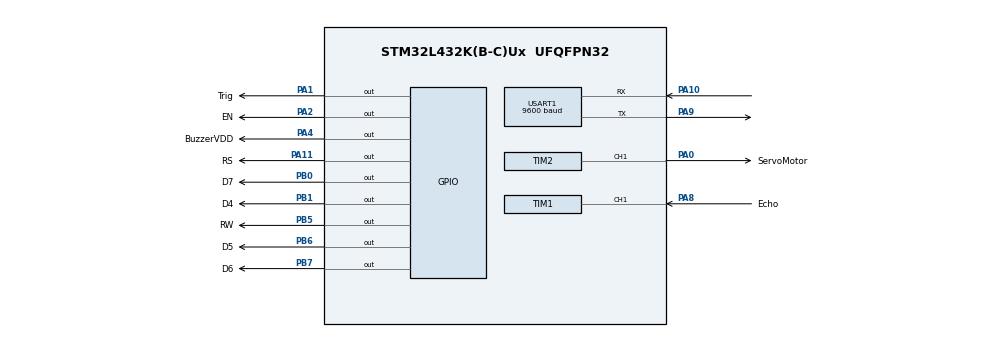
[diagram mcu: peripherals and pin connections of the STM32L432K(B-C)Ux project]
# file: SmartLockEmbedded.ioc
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Mcu.Family=STM32L4
Mcu.Name=STM32L432K(B-C)Ux
Mcu.Package=UFQFPN32
NVIC.PriorityGroup=NVIC_PRIORITYGROUP_4
NVIC.TIM1_CC_IRQn=true\:0\:0\:false\:false\:true\:true\:true
PA0.GPIO_Label=ServoMotor
PA0.Signal=S_TIM2_CH1
PA1.GPIO_Label=Trig
PA1.Signal=GPIO_Output
PA10.Mode=Asynchronous
PA10.Signal=USART1_RX
PA11.GPIO_Label=RS
PA11.Signal=GPIO_Output
PA2.GPIO_Label=EN
PA2.Signal=GPIO_Output
PA4.GPIO_Label=BuzzerVDD
PA4.Signal=GPIO_Output
PA8.GPIO_Label=Echo
PA8.Signal=S_TIM1_CH1
PA9.Mode=Asynchronous
PA9.Signal=USART1_TX
PB0.GPIO_Label=D7
PB0.Signal=GPIO_Output
PB1.GPIO_Label=D4
PB1.Signal=GPIO_Output
PB5.GPIO_Label=RW
PB5.Signal=GPIO_Output
PB6.GPIO_Label=D5
PB6.Signal=GPIO_Output
PB7.GPIO_Label=D6
PB7.Signal=GPIO_Output
ProjectManager.HeapSize=0x200
ProjectManager.StackSize=0x400
ProjectManager.TargetToolchain=MDK-ARM V5
RCC.HSE_VALUE=8000000
RCC.HSI48_VALUE=48000000
RCC.HSI_VALUE=16000000
RCC.LSE_VALUE=32768
RCC.MSI_VALUE=4000000
RCC.VCOOutputFreq_Value=32000000
SH.S_TIM1_CH1.0=TIM1_CH1,Input_Capture1_from_TI1
SH.S_TIM2_CH1.0=TIM2_CH1,PWM Generation1 CH1
TIM1.Channel-Input_Capture1_from_TI1=TIM_CHANNEL_1
TIM1.Period=65535-1
TIM1.Prescaler=4-1
TIM2.Channel-PWM\ Generation1\ CH1=TIM_CHANNEL_1
TIM2.Period=100-1
TIM2.Prescaler=800-1
USART1.BaudRate=9600
USART1.VirtualMode-Asynchronous=VM_ASYNC
VP_TIM1_VS_ClockSourceINT.Mode=Internal
VP_TIM2_VS_ClockSourceINT.Mode=Internal
board=custom

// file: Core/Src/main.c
/* USER CODE BEGIN Header */
/**
  ******************************************************************************
  * @file           : main.c
  * @brief          : Main program body
  ******************************************************************************
  * @attention
  *
  * <h2><center>&copy; Copyright (c) 2021 STMicroelectronics.
  * All rights reserved.</center></h2>
  *
  * This software component is licensed by ST under BSD 3-Clause license,
  * the "License"; You may not use this file except in compliance with the
  * License. You may obtain a copy of the License at:
  *                        opensource.org/licenses/BSD-3-Clause
  *
  ******************************************************************************
  */
/* USER CODE END Header */
#include "main.h"

/* USER CODE BEGIN Includes */
#include "lcd_1602.h"
#include "stdio.h"
#include "string.h"
/* USER CODE END Includes */

/* USER CODE BEGIN PM */
#define Buzzer_GPIO_Port GPIOA
#define Buzzr_Pin GPIO_PIN_4
/* USER CODE END PM */

TIM_HandleTypeDef htim1;
TIM_HandleTypeDef htim2;

UART_HandleTypeDef huart1;

/* USER CODE BEGIN PV */
	uint8_t pin [4] = {'1','1','1','1'};
	uint8_t user_entry [4];
	uint8_t inputORnew;
	uint8_t count_wrong_pins=0;
	uint8_t doorIsclosed = 1;		// 0 door is opened - 1 door is closed
	extern uint8_t distance;

/* USER CODE END PV */

void SystemClock_Config(void);
static void MX_GPIO_Init(void);
static void MX_TIM1_Init(void);
static void MX_USART1_UART_Init(void);
static void MX_TIM2_Init(void);
/* USER CODE BEGIN PFP */
uint8_t read_mobile (void);
uint8_t compare_entry (uint8_t * pin,uint8_t * user_entry);
void start_buzzer(void);
void adjust_lock(uint8_t openORclose);
void delayMS (uint32_t value);
void distanceCalculation(void);
/* USER CODE END PFP */

int main(void)
{

  /* MCU Configuration--------------------------------------------------------*/

  /* Reset of all peripherals, Initializes the Flash interface and the Systick. */
  HAL_Init();

  /* Configure the system clock */
  SystemClock_Config();

  /* Initialize all configured peripherals */
  MX_GPIO_Init();
  MX_TIM1_Init();
  MX_USART1_UART_Init();
  MX_TIM2_Init();
  /* USER CODE BEGIN 2 */
	lcd_init();
	HAL_TIM_PWM_Start(&htim2,TIM_CHANNEL_1);
	// Start the TIM Base generation
	HAL_TIM_Base_Start(&htim1);
	// Pull Trig output low for a little time
	HAL_GPIO_WritePin(GPIOA, GPIO_PIN_1,GPIO_PIN_RESET);
	HAL_Delay(10);
  /* USER CODE END 2 */

  /* Infinite loop */
  while (1)
  {

    /* USER CODE BEGIN 3 */
		/* Ask User Whether He Wants To Enter Pin or Reset Pin */
		lcd_print_start();
		do{
			inputORnew = read_mobile();
		}while (inputORnew!='1' && inputORnew !='2');
		lcd_clr();

		/*Handling Pin input*/
		if(inputORnew=='1')
		{
			lcd_input_menu();
			for(int i=0; i<4;i=i+1)
			{
				user_entry [i] = read_mobile();
				lcd_gotoxy(i,1);
				lcd_puts("*");
			}

			if(compare_entry(pin,user_entry)=='t')
			{
				lcd_clr();
				lcd_gotoxy(0,0);
				lcd_puts("DOOR IS OPEN");
				adjust_lock(0);
				while(doorIsclosed ==0) distanceCalculation();
				count_wrong_pins=0;
			}
			else
			{
				lcd_clr();
				lcd_gotoxy(0,0);
				lcd_puts("Wrong Pin!");
				count_wrong_pins=count_wrong_pins+1;
				if(count_wrong_pins==3)(start_buzzer());
			}
		}

		/*Handling Pin Reset*/
		else if (inputORnew=='2')
		{
			lcd_gotoxy(0,0);
			lcd_puts("Enter PIN:");

			for(int i=0; i<4;i=i+1)
			{
				user_entry [i] = read_mobile();
				lcd_gotoxy(i,1);
				lcd_puts("*");
			}

			if(compare_entry(pin,user_entry)=='t')
			{
				lcd_clr();
				lcd_gotoxy(0,0);
				lcd_puts("PIN CAN BE");
				lcd_gotoxy(0,1);
				lcd_puts("4-NUMBERS ONLY");
				HAL_Delay(4000);
				lcd_clr();
				lcd_gotoxy(0,0);
				lcd_puts("Enter New Pin:");
				for(int i=0; i<4;i=i+1)
				{
					pin[i] = read_mobile();
					lcd_gotoxy(i,1);
					lcd_puts("*");
				}
			}
			else
			{
				lcd_clr();
				lcd_gotoxy(4,0);
				lcd_puts("Wrong Pin!");
				count_wrong_pins = count_wrong_pins+1;
				if(count_wrong_pins==3)(start_buzzer());
			}
		}
  }
  /* USER CODE END 3 */
}

void SystemClock_Config(void)
{
  RCC_OscInitTypeDef RCC_OscInitStruct = {0};
  RCC_ClkInitTypeDef RCC_ClkInitStruct = {0};
  RCC_PeriphCLKInitTypeDef PeriphClkInit = {0};

  /** Initializes the RCC Oscillators according to the specified parameters
  * in the RCC_OscInitTypeDef structure.
  */
  RCC_OscInitStruct.OscillatorType = RCC_OSCILLATORTYPE_MSI;
  RCC_OscInitStruct.MSIState = RCC_MSI_ON;
  RCC_OscInitStruct.MSICalibrationValue = 0;
  RCC_OscInitStruct.MSIClockRange = RCC_MSIRANGE_6;
  RCC_OscInitStruct.PLL.PLLState = RCC_PLL_NONE;
  if (HAL_RCC_OscConfig(&RCC_OscInitStruct) != HAL_OK)
  {
    Error_Handler();
  }
  /** Initializes the CPU, AHB and APB buses clocks
  */
  RCC_ClkInitStruct.ClockType = RCC_CLOCKTYPE_HCLK|RCC_CLOCKTYPE_SYSCLK
                              |RCC_CLOCKTYPE_PCLK1|RCC_CLOCKTYPE_PCLK2;
  RCC_ClkInitStruct.SYSCLKSource = RCC_SYSCLKSOURCE_MSI;
  RCC_ClkInitStruct.AHBCLKDivider = RCC_SYSCLK_DIV1;
  RCC_ClkInitStruct.APB1CLKDivider = RCC_HCLK_DIV1;
  RCC_ClkInitStruct.APB2CLKDivider = RCC_HCLK_DIV1;

  if (HAL_RCC_ClockConfig(&RCC_ClkInitStruct, FLASH_LATENCY_0) != HAL_OK)
  {
    Error_Handler();
  }
  PeriphClkInit.PeriphClockSelection = RCC_PERIPHCLK_USART1;
  PeriphClkInit.Usart1ClockSelection = RCC_USART1CLKSOURCE_PCLK2;
  if (HAL_RCCEx_PeriphCLKConfig(&PeriphClkInit) != HAL_OK)
  {
    Error_Handler();
  }
  /** Configure the main internal regulator output voltage
  */
  if (HAL_PWREx_ControlVoltageScaling(PWR_REGULATOR_VOLTAGE_SCALE1) != HAL_OK)
  {
    Error_Handler();
  }
}

static void MX_TIM1_Init(void)
{

  TIM_ClockConfigTypeDef sClockSourceConfig = {0};
  TIM_MasterConfigTypeDef sMasterConfig = {0};
  TIM_IC_InitTypeDef sConfigIC = {0};

  htim1.Instance = TIM1;
  htim1.Init.Prescaler = 4-1;
  htim1.Init.CounterMode = TIM_COUNTERMODE_UP;
  htim1.Init.Period = 65535-1;
  htim1.Init.ClockDivision = TIM_CLOCKDIVISION_DIV1;
  htim1.Init.RepetitionCounter = 0;
  htim1.Init.AutoReloadPreload = TIM_AUTORELOAD_PRELOAD_DISABLE;
  if (HAL_TIM_Base_Init(&htim1) != HAL_OK)
  {
    Error_Handler();
  }
  sClockSourceConfig.ClockSource = TIM_CLOCKSOURCE_INTERNAL;
  if (HAL_TIM_ConfigClockSource(&htim1, &sClockSourceConfig) != HAL_OK)
  {
    Error_Handler();
  }
  if (HAL_TIM_IC_Init(&htim1) != HAL_OK)
  {
    Error_Handler();
  }
  sMasterConfig.MasterOutputTrigger = TIM_TRGO_RESET;
  sMasterConfig.MasterOutputTrigger2 = TIM_TRGO2_RESET;
  sMasterConfig.MasterSlaveMode = TIM_MASTERSLAVEMODE_DISABLE;
  if (HAL_TIMEx_MasterConfigSynchronization(&htim1, &sMasterConfig) != HAL_OK)
  {
    Error_Handler();
  }
  sConfigIC.ICPolarity = TIM_INPUTCHANNELPOLARITY_RISING;
  sConfigIC.ICSelection = TIM_ICSELECTION_DIRECTTI;
  sConfigIC.ICPrescaler = TIM_ICPSC_DIV1;
  sConfigIC.ICFilter = 0;
  if (HAL_TIM_IC_ConfigChannel(&htim1, &sConfigIC, TIM_CHANNEL_1) != HAL_OK)
  {
    Error_Handler();
  }

}

static void MX_TIM2_Init(void)
{

  TIM_ClockConfigTypeDef sClockSourceConfig = {0};
  TIM_MasterConfigTypeDef sMasterConfig = {0};
  TIM_OC_InitTypeDef sConfigOC = {0};

  htim2.Instance = TIM2;
  htim2.Init.Prescaler = 800-1;
  htim2.Init.CounterMode = TIM_COUNTERMODE_UP;
  htim2.Init.Period = 100-1;
  htim2.Init.ClockDivision = TIM_CLOCKDIVISION_DIV1;
  htim2.Init.AutoReloadPreload = TIM_AUTORELOAD_PRELOAD_DISABLE;
  if (HAL_TIM_Base_Init(&htim2) != HAL_OK)
  {
    Error_Handler();
  }
  sClockSourceConfig.ClockSource = TIM_CLOCKSOURCE_INTERNAL;
  if (HAL_TIM_ConfigClockSource(&htim2, &sClockSourceConfig) != HAL_OK)
  {
    Error_Handler();
  }
  if (HAL_TIM_PWM_Init(&htim2) != HAL_OK)
  {
    Error_Handler();
  }
  sMasterConfig.MasterOutputTrigger = TIM_TRGO_RESET;
  sMasterConfig.MasterSlaveMode = TIM_MASTERSLAVEMODE_DISABLE;
  if (HAL_TIMEx_MasterConfigSynchronization(&htim2, &sMasterConfig) != HAL_OK)
  {
    Error_Handler();
  }
  sConfigOC.OCMode = TIM_OCMODE_PWM1;
  sConfigOC.Pulse = 0;
  sConfigOC.OCPolarity = TIM_OCPOLARITY_HIGH;
  sConfigOC.OCFastMode = TIM_OCFAST_DISABLE;
  if (HAL_TIM_PWM_ConfigChannel(&htim2, &sConfigOC, TIM_CHANNEL_1) != HAL_OK)
  {
    Error_Handler();
  }
  HAL_TIM_MspPostInit(&htim2);

}

static void MX_USART1_UART_Init(void)
{

  huart1.Instance = USART1;
  huart1.Init.BaudRate = 9600;
  huart1.Init.WordLength = UART_WORDLENGTH_8B;
  huart1.Init.StopBits = UART_STOPBITS_1;
  huart1.Init.Parity = UART_PARITY_NONE;
  huart1.Init.Mode = UART_MODE_TX_RX;
  huart1.Init.HwFlowCtl = UART_HWCONTROL_NONE;
  huart1.Init.OverSampling = UART_OVERSAMPLING_16;
  huart1.Init.OneBitSampling = UART_ONE_BIT_SAMPLE_DISABLE;
  huart1.AdvancedInit.AdvFeatureInit = UART_ADVFEATURE_NO_INIT;
  if (HAL_UART_Init(&huart1) != HAL_OK)
  {
    Error_Handler();
  }

}

static void MX_GPIO_Init(void)
{
  GPIO_InitTypeDef GPIO_InitStruct = {0};

  /* GPIO Ports Clock Enable */
  __HAL_RCC_GPIOA_CLK_ENABLE();
  __HAL_RCC_GPIOB_CLK_ENABLE();

  /*Configure GPIO pin Output Level */
  HAL_GPIO_WritePin(GPIOA, Trig_Pin|EN_Pin|BuzzerVDD_Pin|RS_Pin, GPIO_PIN_RESET);

  /*Configure GPIO pin Output Level */
  HAL_GPIO_WritePin(GPIOB, D7_Pin|D4_Pin|RW_Pin|D5_Pin
                          |D6_Pin, GPIO_PIN_RESET);

  /*Configure GPIO pins : Trig_Pin EN_Pin BuzzerVDD_Pin RS_Pin */
  GPIO_InitStruct.Pin = Trig_Pin|EN_Pin|BuzzerVDD_Pin|RS_Pin;
  GPIO_InitStruct.Mode = GPIO_MODE_OUTPUT_PP;
  GPIO_InitStruct.Pull = GPIO_NOPULL;
  GPIO_InitStruct.Speed = GPIO_SPEED_FREQ_LOW;
  HAL_GPIO_Init(GPIOA, &GPIO_InitStruct);

  /*Configure GPIO pins : D7_Pin D4_Pin RW_Pin D5_Pin
                           D6_Pin */
  GPIO_InitStruct.Pin = D7_Pin|D4_Pin|RW_Pin|D5_Pin
                          |D6_Pin;
  GPIO_InitStruct.Mode = GPIO_MODE_OUTPUT_PP;
  GPIO_InitStruct.Pull = GPIO_NOPULL;
  GPIO_InitStruct.Speed = GPIO_SPEED_FREQ_LOW;
  HAL_GPIO_Init(GPIOB, &GPIO_InitStruct);

}

/* USER CODE BEGIN 4 */

/* Function to take input from user through bluetooth connection*/
uint8_t read_mobile (void)
{
	uint8_t key = ' ';
	do{
		HAL_UART_Receive(&huart1,&key,sizeof(key),HAL_MAX_DELAY);
	}while(key<48 || key >57);
	return key;
}

/* Function to compare user input to the current pin */
uint8_t compare_entry (uint8_t * pin,uint8_t * user_entry)
{
	for (int i=0;i<4;i++)
	{
		if(pin[i] != user_entry[i])
			return 'f';
	}

	return 't';
}

/* Function to handle buzzer on/off */
void start_buzzer(void)
{
	 HAL_GPIO_WritePin(Buzzer_GPIO_Port,Buzzr_Pin,GPIO_PIN_SET);
	 lcd_clr();
	 lcd_gotoxy(0,0);
	 lcd_puts("ENTER PIN");
	 lcd_gotoxy(0,1);
	 lcd_puts("TO DISABLE BUZZ");
	 HAL_Delay(4000);
	do{
		lcd_clr();
		lcd_gotoxy(0,0);
		lcd_puts("Enter Pin:");
		for(int i=0; i<4;i=i+1)
		 {
				user_entry [i] = read_mobile();
				lcd_gotoxy(i,1);
				lcd_puts("*");
		 }
			if(compare_entry(pin,user_entry)=='t')
			{
				lcd_clr();
				lcd_gotoxy(0,0);
				lcd_puts("ALARM DISABLED");
				count_wrong_pins=0;
				HAL_GPIO_WritePin(Buzzer_GPIO_Port,Buzzr_Pin,GPIO_PIN_RESET);
			}
		}while(compare_entry(pin,user_entry)=='f');
}

/*Function to adjust the lock *Servo Motor* */
/* Tim1 is set to fit 50HZ according to servo motor datasheet to rotate */
/* Adjust PWM of 0.11 (11%) open the lock */
/* Adjust PWM of 0.06 (6%) to exit the lock */
void adjust_lock(uint8_t openORclose)
{
	if(openORclose==0)
	{
		__HAL_TIM_SetCompare(&htim2,TIM_CHANNEL_1,11);
		doorIsclosed = 0;
	}
	else
	{
	 __HAL_TIM_SetCompare(&htim2,TIM_CHANNEL_1,6);
		doorIsclosed = 1;
	}
}

/* Timer 2 works on ms */
void delayMS (uint32_t value)
{
	// Set the TIM Counter Register value to 0
	__HAL_TIM_SET_COUNTER(&htim1, 0);
	/*TIM Counter Register value is less than the intended value */
	while(__HAL_TIM_GET_COUNTER(&htim1)<value);
}

/* Calculate Distance From Object*/
void distanceCalculation(void)
{
		lcd_gotoxy(0,0);
		lcd_puts("DOOR CLOSE IN:");
		lcd_gotoxy(0,1);
		lcd_puts("Remaining is: 10");
		for(int i=1;i<=50;i++)
		{
			// pull TRIG high
			HAL_GPIO_WritePin(GPIOA, GPIO_PIN_1,GPIO_PIN_SET);
			//create 10µS delay
			delayMS(10);
			// pull TRIG low
			HAL_GPIO_WritePin(GPIOA, GPIO_PIN_1,GPIO_PIN_RESET);
			// start TIM Input Capture measurement in interrupt mode
			HAL_TIM_IC_Start_IT(&htim1,TIM_CHANNEL_1);
			// wait for a little time
			HAL_Delay(200);
			if(distance<100) break;	//someone passed the door conunt again
			lcd_gotoxy(0,1);
			// Print Remaining Time
			if(i%100==10)
				lcd_puts("Remaining is: 08");
			else if(i%100==20)
				lcd_puts("Remaining is: 06");
			else if(i%100==30)
				lcd_puts("Remaining is: 04");
			else if(i%100==40)
				lcd_puts("Remaining is: 02");
			else if(i%100==50)
				lcd_puts("Remaining is: 00");
			// Reached 10 seconds without interference - close the door -
			if(i==50)  adjust_lock(1);
		}
}
/* USER CODE END 4 */

void Error_Handler(void)
{
  __disable_irq();
  while (1)
  {
  }
}

/************************ (C) COPYRIGHT STMicroelectronics *****END OF FILE****/
